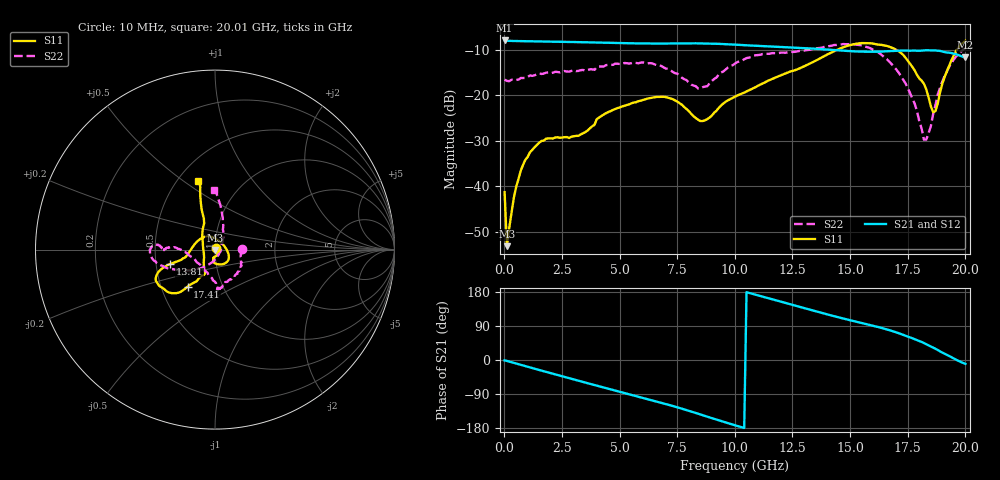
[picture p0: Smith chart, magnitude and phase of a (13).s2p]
! Hittite Microwave Corporation
! 2 Elizabeth Drive
! Chelmsford, MA 01824
! http://www.hittite.com
! Tel: 978-250-3343
! Fax: 978-250-3373
! Device:  HMC424LP3
! Description: 0.5 dB GaAs MMIC 6-Bit Digital Attenuator
! Frequency:  DC -  13.00 GHz
! Package:  LP3  - 3x3 mm Quad Flatpack No-Lead (QFN) Plastic Package: 16 pin
! Ports:  2 RF, 7 DC
!  Pad  1  = Ground
!  Pad  2  = RF IN  = Port 1
!  Pad  3  = Ground
!  Pad  4  = V6
!  Pad  5  = V5
!  Pad  6  = V4
!  Pad  7  = V3
!  Pad  8  = V2
!  Pad  9  = V1
!  Pad 10  = Ground
!  Pad 11  = RF OUT  = Port 2
!  Pad 12  = Ground
!  Pad 15  = VEE
! Control:  -5 Volt control voltage
! State:  11
! Attenuation:  5.5 dB
! Voltages:  Vdd = -5.00 Volts  Idd =  -2.560 mA
!  V1  = -5.00 Volts  I1  =  -1.0 uA
!  V2  = -5.00 Volts  I2  =  -1.0 uA
!  V3  = 0.00 Volts  I3  =  29.0 uA
!  V4  = -5.00 Volts  I4  =  -1.0 uA
!  V5  = 0.00 Volts  I5  =  29.0 uA
!  V6  = 0.00 Volts  I6  =  30.0 uA
! Data:  The device was measured on evaluation board 105354-1.
!  Data was collected using a calibrated network analyzer.
!  The evaluation circuit board was modeled and simulated.  This was use
!  to removed the evaluation board circuit from the measured data.
!  The reference plane is the edge of the package pin.
! Misc:  Lot xxxx, Unit 1
!  Application 20120001, Data collected in Application 20090083
! Date Measured:  2009-09-15
! Date:  2012-05-14  MJV
! Note:
!  Hittite supplies this data as a sample of measured data at the package pin
!  for this product.  Your particular data for this product may vary.
!  Data was taken at 25 degrees C.
!  Hittite reserves the right to change this data at anytime.
# GHz S MA R 50
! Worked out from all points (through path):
!   201 points, 10 MHz to 20.01 GHz, reference 50 ohm
!   highest |S21| = -8.00 dB at 10 MHz (marker M1); lowest = -11.7 dB at 20.01 GHz (marker M2)
!   group delay of S21, straight-line fit = 48.6 ps
!   lowest |S11| = -53.2 dB at 110 MHz (marker M3), VSWR 1.00, Z = 49.9 - j0.188 ohm
!   |S11| at or under -10 dB: start of sweep to 14.47 GHz; 16.99 GHz to 19.65 GHz (2.663 GHz wide, 14.5 % of centre)
!   |S22| runs from -29.8 to -8.8 dB; largest |S21 - S12| = 0.0036
!   S11 on the Smith chart (normalised r, x): 10 MHz: 1.01, +0.02; 13.81 GHz: 0.59, -0.10; 17.41 GHz: 0.68, -0.30; 20.01 GHz: 0.63, +0.57
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0.01  0.008567 66.4  0.3982 -1.0  0.3972 -1.5  0.1477 1.3
0.11  0.002185 -120.3  0.3949 -2.4  0.3943 -2.4  0.1431 -1.9
0.51  0.009765 -75.2  0.3923 -9.4  0.3922 -9.4  0.1467 -11.9
1.11  0.02348 -63.4  0.3899 -19.6  0.3894 -19.6  0.1642 -25.2
1.81  0.03317 -55.5  0.387 -31.3  0.3868 -31.3  0.1763 -35.3
3.41  0.03802 -87.9  0.3811 -57.9  0.3805 -57.9  0.1889 -61.5
4.51  0.06508 -99.4  0.3757 -75.8  0.3752 -75.9  0.2151 -79.8
6.71  0.0954 -48.8  0.3686 -111.2  0.368 -111.2  0.2137 -86.4
8.41  0.05356 28.1  0.3698 -141.7  0.3693 -141.7  0.1179 -129.1
10.01  0.09588 135.7  0.358 -172.3  0.3576 -172.3  0.2219 176.8
13.41  0.2314 -162.6  0.3239 130.4  0.3233 130.4  0.3186 175.1
13.81  0.2619 -162.0  0.319 123.7  0.3186 123.8  0.3336 175.1
15.51  0.3727 -152.1  0.2997 97.6  0.2995 97.7  0.3512 -171.1
16.71  0.34 -134.4  0.3038 78.7  0.3034 78.8  0.2329 -150.3
17.41  0.2574 -126.5  0.3085 64.0  0.3081 64.1  0.1347 -128.4
17.81  0.186 -119.4  0.3088 54.8  0.3082 54.8  0.08039 -107.9
18.21  0.1329 -116.4  0.31 44.9  0.3095 44.9  0.03237 -49.7
18.31  0.1159 -122.1  0.3106 41.9  0.3101 41.9  0.03238 -18.8
18.61  0.0649 -163.5  0.3091 32.9  0.3086 32.9  0.06182 47.3
18.71  0.06666 173.9  0.309 29.8  0.3087 29.8  0.0774 55.0
19.41  0.2422 108.2  0.2893 7.2  0.2887 7.2  0.225 80.9
20.01  0.3945 103.6  0.2588 -10.2  0.2589 -10.1  0.3298 90.9
